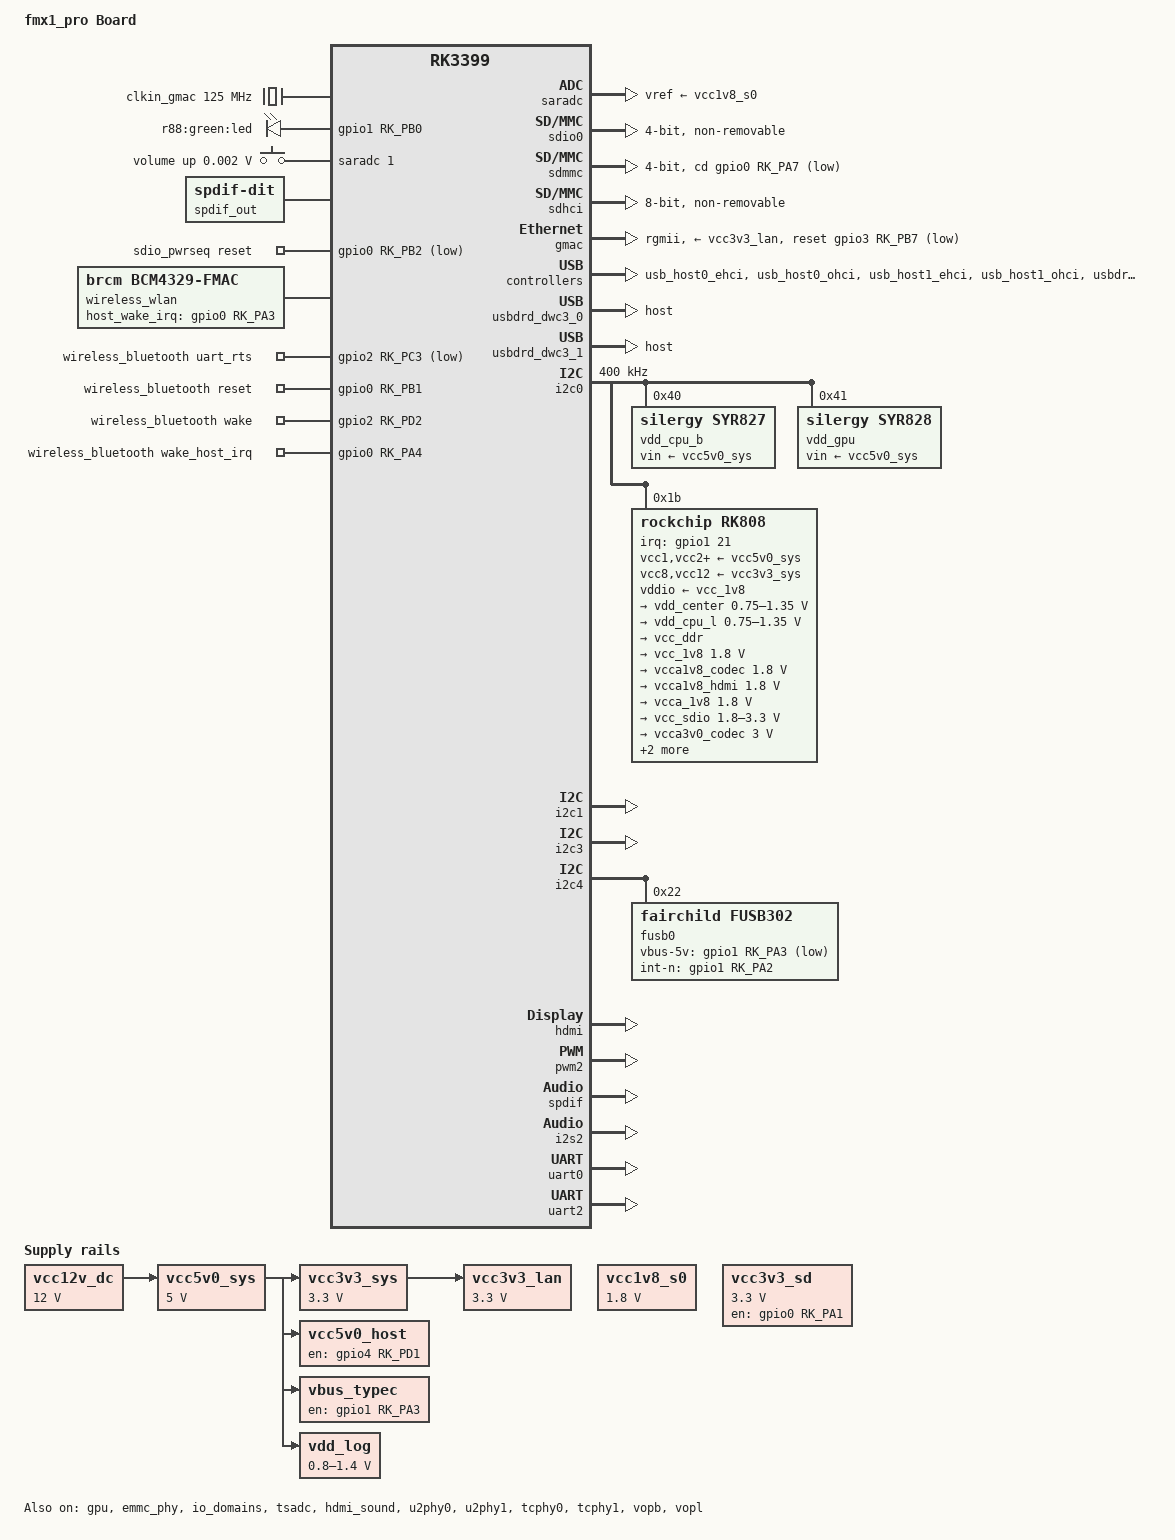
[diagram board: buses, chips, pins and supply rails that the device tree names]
// SPDX-License-Identifier: (GPL-2.0+ OR MIT)
/dts-v1/;

#include <dt-bindings/input/linux-event-codes.h>
#include <dt-bindings/leds/common.h>
#include <dt-bindings/pwm/pwm.h>
#include <dt-bindings/pinctrl/rockchip.h>
#include "rk3399.dtsi"
#include "rk3399-opp.dtsi"

// gpio0:0xac
// gpio1:0x2f
// gpio2:0xb7
// gpio3:0x17
// gpio4:0xba

// 0x01:GPIO_ACTIVE_LOW   0x00:GPIO_ACTIVE_HIGH

// RK_PA0-RK_PA7:0x00-0x07
// RK_PB0-RK_PB7:0x08-0x0f
// RK_PC0-RK_PC7:0x10-0x17
// RK_PD0-RK_PD7:0x18-0x1f

// #define RK_FUNC_GPIO    0
// #define RK_FUNC_1-7    1-7 

// pcfg-pull-none:0xa3
// pcfg-pull-up:0xa1

/ {
	model = "fmx1_pro Board";
	compatible = "rockchip,fmx1_pro", "rockchip,rk3399";

	aliases {
		mmc0 = &sdmmc;
		mmc1 = &sdhci;
		mmc2 = &sdio0;
	};

	chosen: chosen {
		stdout-path = "serial2:1500000n8";
	};

	ramoops: ramoops@110000 {
		compatible = "ramoops";
        reg = <0x00 0x110000 0x00 0xf0000>;
		record-size = <0x20000>;
		console-size = <0x80000>;
		ftrace-size = <0x00>;
		pmsg-size = <0x50000>;
	};

    fiq_debugger: fiq-debugger {
		compatible = "rockchip,fiq-debugger";
		rockchip,serial-id = <2>;
        rockchip,signal-irq = <182>;
		rockchip,wake-irq = <0>;
		rockchip,irq-mode-enable = <1>;
		rockchip,baudrate = <1500000>; 
		pinctrl-names = "default";
		pinctrl-0 = <&uart2c_xfer>;
	};

	reserved_memory: reserved-memory {
		#address-cells = <2>;
		#size-cells = <2>;
		ranges;

		cma: cma {
			compatible = "shared-dma-pool";
			reusable;
			size = <0x00 0x8000000>;
			linux,cma-default;
		};
	};

    clkin_gmac: external-gmac-clock {
		compatible = "fixed-clock";
		clock-frequency = <125000000>;
		clock-output-names = "clkin_gmac";
		#clock-cells = <0>;
	};

	vcc12v_dc: dc-12v {
		compatible = "regulator-fixed";
		regulator-name = "vcc12v_dc";
		regulator-always-on;
		regulator-boot-on;
		regulator-min-microvolt = <12000000>;
		regulator-max-microvolt = <12000000>;
	};

	vcc5v0_sys: vcc-sys {
		compatible = "regulator-fixed";
		regulator-name = "vcc5v0_sys";
		regulator-always-on;
		regulator-boot-on;
		regulator-min-microvolt = <5000000>;
		regulator-max-microvolt = <5000000>;
		vin-supply = <&vcc12v_dc>;
	};

	vcc3v3_sys: vcc3v3-sys {
		compatible = "regulator-fixed";
		regulator-name = "vcc3v3_sys";
		regulator-always-on;
		regulator-boot-on;
		regulator-min-microvolt = <3300000>;
		regulator-max-microvolt = <3300000>;
		vin-supply = <&vcc5v0_sys>;
	};

    vcc1v8_s0: vcc1v8-s0 {
		compatible = "regulator-fixed";
		regulator-name = "vcc1v8_s0";
		regulator-min-microvolt = <1800000>;
		regulator-max-microvolt = <1800000>;
		regulator-always-on;
		regulator-boot-on;
	};

	vcc5v0_host: vcc5v0-host-regulator {
		compatible = "regulator-fixed";
		enable-active-high;
		gpio = <&gpio4 RK_PD1 GPIO_ACTIVE_HIGH>;
		pinctrl-names = "default";
		pinctrl-0 = <&host_vbus_drv>;
		regulator-name = "vcc5v0_host";
		regulator-always-on;
		vin-supply = <&vcc5v0_sys>;
	};

	vbus_typec: vbus-typec-regulator {
		compatible = "regulator-fixed";
		enable-active-high;
		gpio = <&gpio1 RK_PA3 GPIO_ACTIVE_HIGH>;
		pinctrl-names = "default";
		pinctrl-0 = <&vcc5v0_typec_en>;
		regulator-name = "vbus_typec";
		vin-supply = <&vcc5v0_sys>;
	};

	vcc3v3_sd: vcc-sd {
		compatible = "regulator-fixed";
		enable-active-high;
		regulator-always-on;
		regulator-boot-on;
		gpio = <&gpio0 RK_PA1 GPIO_ACTIVE_HIGH>; // sch
		pinctrl-names = "default";
		pinctrl-0 = <&vcc_sd_h>;
		regulator-name = "vcc3v3_sd";
		regulator-min-microvolt = <3300000>;
		regulator-max-microvolt = <3300000>;
	};

	vcc3v3_lan: vcc3v3-lan-regulator {
		compatible = "regulator-fixed";
		regulator-name = "vcc3v3_lan";
		regulator-always-on;
		regulator-boot-on;
		regulator-min-microvolt = <3300000>;
		regulator-max-microvolt = <3300000>;
		vin-supply = <&vcc3v3_sys>;
	};

	vdd_log: vdd-log {
		compatible = "pwm-regulator";
		pwms = <&pwm2 0 25000 1>;
		regulator-name = "vdd_log";
		regulator-always-on;
		regulator-boot-on;
		regulator-min-microvolt = <800000>;
		regulator-max-microvolt = <1400000>;
		pwm-supply = <&vcc5v0_sys>;
	};

    gpio-leds {
		compatible = "gpio-leds";
		autorepeat;
		work {
			gpios = <&gpio1 RK_PB0 GPIO_ACTIVE_HIGH>;
			label = "r88:green:led";
			pinctrl-names = "default";
			pinctrl-0 = <&sys_led_pin>;
		};
	};

	adc-keys {
		compatible = "adc-keys";
		io-channels = <&saradc 1>;
		io-channel-names = "buttons";
		keyup-threshold-microvolt = <1800000>;
		poll-interval = <100>;

		vol-up-key {
			label = "volume up";
			linux,code = <KEY_VOLUMEUP>;
			press-threshold-microvolt = <1750>;
		};
	};

	test-power {
		status = "okay";
	};

    spdif_sound: spdif-sound {
		status = "okay";
		compatible = "simple-audio-card";
		simple-audio-card,name = "ROCKCHIP,SPDIF";

		simple-audio-card,cpu {
			sound-dai = <&spdif>;
		};

		simple-audio-card,codec {
			sound-dai = <&spdif_out>;
		};
	};

	spdif_out: spdif-out {
		status = "okay";
		compatible = "linux,spdif-dit";
		#sound-dai-cells = <0>;
	};

    sdio_pwrseq: sdio-pwrseq {
		compatible = "mmc-pwrseq-simple";
		clocks = <&rk808 1>;
		clock-names = "ext_clock";
		pinctrl-names = "default";
		pinctrl-0 = <&wifi_enable_h>;
		reset-gpios = <&gpio0 RK_PB2 GPIO_ACTIVE_LOW>; // sch
	};

    wireless_wlan: wireless-wlan {
		compatible = "brcm,bcm4329-fmac";
		rockchip,grf = <&grf>;
		wifi_chip_type = "ap6354";
		sdio_vref = <1800>;
		WIFI,host_wake_irq = <&gpio0 RK_PA3 GPIO_ACTIVE_HIGH>;
		status = "okay";
	};

	wireless_bluetooth: wireless-bluetooth {
		compatible = "bluetooth-platdata";
		clocks = <&rk808 1>;
		clock-names = "ext_clock";
		uart_rts_gpios = <&gpio2 RK_PC3 GPIO_ACTIVE_LOW>;
		pinctrl-names = "default","rts_gpio";
		pinctrl-0 = <&uart0_rts>;
		pinctrl-1 = <&uart0_gpios>;
		BT,reset_gpio = <&gpio0 RK_PB1 GPIO_ACTIVE_HIGH>;
		BT,wake_gpio = <&gpio2 RK_PD2 GPIO_ACTIVE_HIGH>;
		BT,wake_host_irq = <&gpio0 RK_PA4 GPIO_ACTIVE_HIGH>;
		status = "okay";
	};
};

&cpu_l0 {
	cpu-supply = <&vdd_cpu_l>;
};

&cpu_l1 {
	cpu-supply = <&vdd_cpu_l>;
};

&cpu_l2 {
	cpu-supply = <&vdd_cpu_l>;
};

&cpu_l3 {
	cpu-supply = <&vdd_cpu_l>;
};

&cpu_b0 {
	cpu-supply = <&vdd_cpu_b>;
};

&cpu_b1 {
	cpu-supply = <&vdd_cpu_b>;
};

&gpu {
	status = "okay";
	mali-supply = <&vdd_gpu>;
};

&saradc {
	vref-supply = <&vcc1v8_s0>;
	status = "okay";
};

&emmc_phy {
	status = "okay";
};

&sdio0 {
	#address-cells = <1>;
	#size-cells = <0>;
	clock-frequency = <100000000>;
	clock-freq-min-max = <200000 100000000>;
	supports-sdio;
	bus-width = <4>;
	disable-wp;
	cap-sd-highspeed;
	cap-sdio-irq;
	keep-power-in-suspend;
	mmc-pwrseq = <&sdio_pwrseq>;
	non-removable;
	num-slots = <1>;
	pinctrl-names = "default";
	pinctrl-0 = <&sdio0_bus4 &sdio0_cmd &sdio0_clk>;
	sd-uhs-sdr104;
	status = "okay";
};

&sdmmc {
	clock-frequency = <100000000>;
	clock-freq-min-max = <100000 100000000>;
	cd-gpios = <&gpio0 RK_PA7 GPIO_ACTIVE_LOW>;
	supports-sd;
	bus-width = <4>;
	cap-mmc-highspeed;
	cap-sd-highspeed;
	disable-wp;
	num-slots = <1>;
	//sd-uhs-sdr104;
	vqmmc-supply = <&vcc_sdio>;
	pinctrl-names = "default";
	pinctrl-0 = <&sdmmc_clk &sdmmc_cmd &sdmmc_cd &sdmmc_bus4>;
	card-detect-delay = <800>;
	status = "okay";
};

&sdhci {
	bus-width = <8>;
	non-removable;
	status = "okay";
};

&gmac {
	phy-supply = <&vcc3v3_lan>;
	phy-mode = "rgmii";
	clock_in_out = "input";
	snps,reset-gpio = <&gpio3 RK_PB7 GPIO_ACTIVE_LOW>;
	snps,reset-active-low;
	snps,reset-delays-us = <0 10000 50000>;
	assigned-clocks = <&cru SCLK_RMII_SRC>;
	assigned-clock-parents = <&clkin_gmac>;
	pinctrl-names = "default", "sleep";
	pinctrl-0 = <&rgmii_pins>;
	pinctrl-1 = <&rgmii_sleep_pins>;
	tx_delay = <0x28>;
	rx_delay = <0x11>;
	status = "okay";
};

&io_domains {
	status = "okay";
	rockchip,grf = <&grf>;
	bt656-supply = <&vcc1v8_s0>;		
	audio-supply = <&vcc1v8_s0>;		
	sdmmc-supply = <&vcc_sdio>;		
	gpio1830-supply = <&vcc_3v0>;		
};

&pmu_io_domains {
	status = "okay";
    rockchip,grf = <&grf>;
	pmu1830-supply = <&vcc_1v8>;
};

&pcie_phy {
	status = "disabled";
};

&pcie0 {
	status = "disabled";
};

&usb_host0_ehci {
	status = "okay";
};

&usb_host0_ohci {
	status = "okay";
};

&usb_host1_ehci {
	status = "okay";
};

&usb_host1_ohci {
	status = "okay";
};

&usbdrd3_0 {
	extcon = <&fusb0>;
	status = "okay";
};

&usbdrd_dwc3_0 {
	dr_mode = "host";
	status = "okay";
};

&usbdrd3_1 {
	status = "okay";
};


&usbdrd_dwc3_1 {
	status = "okay";
	dr_mode = "host";
};

&tsadc {
	/* tshut mode 0:CRU 1:GPIO */
	rockchip,hw-tshut-mode = <1>;
	/* tshut polarity 0:LOW 1:HIGH */
	rockchip,hw-tshut-polarity = <1>;
	rockchip,hw-tshut-temp = <120000>;
	status = "okay";
};

&i2c0 {
	status = "okay";
	clock-frequency = <400000>;
	i2c-scl-rising-time-ns = <168>;
	i2c-scl-falling-time-ns = <4>;

    vdd_cpu_b: syr827@40 {
		compatible = "silergy,syr827";
		reg = <0x40>;
        pinctrl-names = "default";
		pinctrl-0 = <&vsel1_pin>;
		regulator-compatible = "fan53555-reg";
		regulator-name = "vdd_cpu_b";
		regulator-min-microvolt = <712500>;
		regulator-max-microvolt = <1500000>;
		regulator-ramp-delay = <1000>;
		fcs,suspend-voltage-selector = <0>;
		regulator-always-on;
		regulator-boot-on;
		vin-supply = <&vcc5v0_sys>;

		regulator-state-mem {
			regulator-off-in-suspend;
		};
	};

	vdd_gpu: syr828@41 {
		compatible = "silergy,syr828";
		reg = <0x41>;
        pinctrl-names = "default";
		pinctrl-0 = <&vsel2_pin>;
		regulator-compatible = "fan53555-reg";
		regulator-name = "vdd_gpu";
		regulator-min-microvolt = <712500>;
		regulator-max-microvolt = <1500000>;
		regulator-ramp-delay = <1000>;
		fcs,suspend-voltage-selector = <1>;
		regulator-always-on;
		regulator-boot-on;
		vin-supply = <&vcc5v0_sys>;
		regulator-initial-mode = <1>;

		regulator-state-mem {
			regulator-off-in-suspend;
		};
	};

    rk808: pmic@1b { // checked
		compatible = "rockchip,rk808";
		reg = <0x1b>;
		interrupt-parent = <&gpio1>;
		interrupts = <21 IRQ_TYPE_LEVEL_LOW>;
		#clock-cells = <1>;
		clock-output-names = "xin32k", "rk808-clkout2";
		pinctrl-names = "default";
		pinctrl-0 = <&pmic_int_l>;
		rockchip,system-power-controller;
		wakeup-source;

		vcc1-supply = <&vcc5v0_sys>;
		vcc2-supply = <&vcc5v0_sys>;
		vcc3-supply = <&vcc5v0_sys>;
		vcc4-supply = <&vcc5v0_sys>;
		vcc6-supply = <&vcc5v0_sys>;
		vcc7-supply = <&vcc5v0_sys>;
		vcc8-supply = <&vcc3v3_sys>;
		vcc9-supply = <&vcc5v0_sys>;
		vcc10-supply = <&vcc5v0_sys>;
		vcc11-supply = <&vcc5v0_sys>;
		vcc12-supply = <&vcc3v3_sys>;
		vddio-supply = <&vcc_1v8>;

		regulators {
			vdd_center: DCDC_REG1 {
				regulator-name = "vdd_center";
				regulator-always-on;
				regulator-boot-on;
				regulator-min-microvolt = <750000>;
				regulator-max-microvolt = <1350000>;
				regulator-ramp-delay = <6001>;
				regulator-state-mem {
					regulator-off-in-suspend;
				};
			};

			vdd_cpu_l: DCDC_REG2 {
				regulator-name = "vdd_cpu_l";
				regulator-always-on;
				regulator-boot-on;
				regulator-min-microvolt = <750000>;
				regulator-max-microvolt = <1350000>;
				regulator-ramp-delay = <6001>;
				regulator-state-mem {
					regulator-off-in-suspend;
				};
			};

			vcc_ddr: DCDC_REG3 {
				regulator-name = "vcc_ddr";
				regulator-always-on;
				regulator-boot-on;
				regulator-state-mem {
					regulator-on-in-suspend;
				};
			};

			vcc_1v8: DCDC_REG4 {
				regulator-name = "vcc_1v8";
				regulator-always-on;
				regulator-boot-on;
				regulator-min-microvolt = <1800000>;
				regulator-max-microvolt = <1800000>;
				regulator-state-mem {
					regulator-on-in-suspend;
					regulator-suspend-microvolt = <1800000>;
				};
			};

			vcca1v8_codec: LDO_REG1 {
				regulator-name = "vcca1v8_codec";
				regulator-always-on;
				regulator-boot-on;
				regulator-min-microvolt = <1800000>;
				regulator-max-microvolt = <1800000>;
				regulator-state-mem {
					regulator-off-in-suspend;
				};
			};

			vcca1v8_hdmi: LDO_REG2 {
				regulator-name = "vcca1v8_hdmi";
				regulator-always-on;
				regulator-boot-on;
				regulator-min-microvolt = <1800000>;
				regulator-max-microvolt = <1800000>;
				regulator-state-mem {
					regulator-off-in-suspend;
				};
			};

			vcca_1v8: LDO_REG3 {
				regulator-name = "vcca_1v8";
				regulator-always-on;
				regulator-boot-on;
				regulator-min-microvolt = <1800000>;
				regulator-max-microvolt = <1800000>;
				regulator-state-mem {
					regulator-on-in-suspend;
					regulator-suspend-microvolt = <1800000>;
				};
			};

			vcc_sdio: LDO_REG4 {
				regulator-name = "vcc_sdio";
				regulator-always-on;
				regulator-boot-on;
				regulator-min-microvolt = <1800000>;
				regulator-max-microvolt = <3300000>;
				regulator-state-mem {
					regulator-on-in-suspend;
					regulator-suspend-microvolt = <3300000>;
				};
			};

			vcca3v0_codec: LDO_REG5 {
				regulator-name = "vcca3v0_codec";
				regulator-always-on;
				regulator-boot-on;
				regulator-min-microvolt = <3000000>;
				regulator-max-microvolt = <3000000>;
				regulator-state-mem {
					regulator-off-in-suspend;
				};
			};

			vcc_1v5: LDO_REG6 {
				regulator-name = "vcc_1v5";
				regulator-always-on;
				regulator-boot-on;
				regulator-min-microvolt = <1500000>;
				regulator-max-microvolt = <1500000>;
				regulator-state-mem {
					regulator-on-in-suspend;
					regulator-suspend-microvolt = <1500000>;
				};
			};

			vcca0v9_hdmi: LDO_REG7 {
				regulator-name = "vcca0v9_hdmi";
				regulator-always-on;
				regulator-boot-on;
				regulator-min-microvolt = <900000>;
				regulator-max-microvolt = <900000>;
				regulator-state-mem {
					regulator-off-in-suspend;
				};
			};

			vcc_3v0: LDO_REG8 {
				regulator-name = "vcc_3v0";
				regulator-always-on;
				regulator-boot-on;
				regulator-min-microvolt = <3000000>;
				regulator-max-microvolt = <3000000>;
				regulator-state-mem {
					regulator-on-in-suspend;
					regulator-suspend-microvolt = <3000000>;
				};
			};

			vcc_cam: SWITCH_REG1 {
				regulator-name = "vcc_cam";
				regulator-always-on;
				regulator-boot-on;
				regulator-state-mem {
					regulator-off-in-suspend;
				};
			};

			vcc_mipi: SWITCH_REG2 {
				regulator-name = "vcc_mipi";
				regulator-always-on;
				regulator-boot-on;
				regulator-state-mem {
					regulator-off-in-suspend;
				};
			};
		};
	};
};

&i2c1 {
	i2c-scl-rising-time-ns = <300>;
	i2c-scl-falling-time-ns = <15>;
	status = "okay";
};

&i2c3 {
	i2c-scl-rising-time-ns = <450>;
	i2c-scl-falling-time-ns = <15>;
	status = "okay";
};

&i2c4 {
    status = "okay";
    fusb0: fusb30x@22 {
		compatible = "fairchild,fusb302";
		reg = <0x22>;
		pinctrl-names = "default";
		pinctrl-0 = <&fusb0_int>;
		vbus-5v-gpios = <&gpio1 RK_PA3 GPIO_ACTIVE_LOW>;
		int-n-gpios = <&gpio1 RK_PA2 GPIO_ACTIVE_HIGH>;
		status = "okay";
	};
};

// &cdn_dp {
// 	status = "okay";
// 	extcon = <&fusb0>;
// };

// &hdmi_in_vopl {
// 	status = "disabled";
// };

// &dp_in_vopb {
// 	status = "disabled";
// };

// &route_hdmi {
// 	status = "okay";
// };

&hdmi {
	avdd-0v9-supply = <&vcca0v9_hdmi>;
	avdd-1v8-supply = <&vcca1v8_hdmi>;
	ddc-i2c-bus = <&i2c3>;
	pinctrl-names = "default";
	pinctrl-0 = <&hdmi_cec>;
	status = "okay";
};

&hdmi_sound {
	status = "okay";
};

// &hdmi_dp_sound {
// 	status = "okay";
// };

&pwm2 {
	status = "okay";
};

&u2phy0 {
	status = "okay";
	extcon = <&fusb0>;

	u2phy0_host: host-port {
		status = "okay";
		phy-supply = <&vcc5v0_host>;
	};

    u2phy0_otg_port: host-otg {
		status = "okay";
	};
};

&u2phy1 {
	status = "okay";

	u2phy1_host: host-port {
		status = "okay";
		phy-supply = <&vcc5v0_host>;
	};

    u2phy1_otg_port: host-otg {
		status = "okay";
	};
};

&tcphy0 {
	extcon = <&fusb0>;
	status = "okay";
};

&tcphy1 {
	status = "okay";
};

&spdif {
	pinctrl-0 = <&spdif_bus_1>;
	status = "okay";
	#sound-dai-cells = <0>;
};

// &i2s0 {
// 	status = "okay";
// 	rockchip,i2s-broken-burst-len;
// 	rockchip,playback-channels = <8>;
// 	rockchip,capture-channels = <8>;
// 	#sound-dai-cells = <0>;
// };

// &i2s1 {
// 	status = "disabled";
// };

&i2s2 {
	rockchip,playback-channels = <2>;
	rockchip,capture-channels = <2>;
	#sound-dai-cells = <0>;
	status = "okay";
};

&uart0 {
	pinctrl-names = "default";
	pinctrl-0 = <&uart0_xfer &uart0_cts &uart0_rts>;
	status = "okay";
};

&uart2 {
	pinctrl-names = "default";
	pinctrl-0 = <&uart2c_xfer>;
	status = "okay";
};

&pinctrl {

	rockchip-key {
		power_key: power-key {
			rockchip,pins =
				<0 RK_PA5 RK_FUNC_GPIO &pcfg_pull_up>;
		};
	};

	sdio0 {
		sdio0-bus1 {
			rockchip,pins = <2 20 1 &pcfg_pull_up_20ma>;
		};

		sdio0-bus4 {
			rockchip,pins =
				<2 20 1 &pcfg_pull_up_20ma>,
				<2 21 1 &pcfg_pull_up_20ma>,
				<2 22 1 &pcfg_pull_up_20ma>,
				<2 23 1 &pcfg_pull_up_20ma>;
		};

		sdio0-cmd {
			rockchip,pins = <2 24 1 &pcfg_pull_up_20ma>;
		};

		sdio0-clk {
			rockchip,pins = <2 25 1 &pcfg_pull_up_20ma>;
		};
		
	};

	sdmmc {
		sdmmc_bus1: sdmmc-bus1 {
			rockchip,pins =
				<4 8 1 &pcfg_pull_up_8ma>;
		};

		sdmmc_bus4: sdmmc-bus4 {
			rockchip,pins =
				<4 8 1 &pcfg_pull_up_8ma>,
				<4 9 1 &pcfg_pull_up_8ma>,
				<4 10 1 &pcfg_pull_up_8ma>,
				<4 11 1 &pcfg_pull_up_8ma>;
		};

		sdmmc_clk: sdmmc-clk {
			rockchip,pins =
				<4 12 1 &pcfg_pull_none_18ma>;
		};

		sdmmc_cmd: sdmmc-cmd {
			rockchip,pins =
				<4 13 1 &pcfg_pull_up_8ma>;
		};
	};

	leds {
		sys_led_pin: sys-led-pin {
			rockchip,pins = <1 RK_PB0 RK_FUNC_GPIO &pcfg_pull_none>; // sch
		};
	};

    sdio-pwrseq {
		wifi_enable_h: wifi-enable-h {
			rockchip,pins = <0 RK_PB2 RK_FUNC_GPIO &pcfg_pull_none>;
		};
	};

    wireless-bluetooth {
		uart0_gpios: uart0-gpios {
			rockchip,pins = <2 RK_PC3 RK_FUNC_GPIO &pcfg_pull_none>;
		};
	};

    usb2 {
        host_vbus_drv: host-vbus-drv {
			rockchip,pins = <4 RK_PD1 RK_FUNC_GPIO &pcfg_pull_none>;
		};
	};

	usb-typec {
		vcc5v0_typec_en: vcc5v0-typec-en {
			rockchip,pins =
				<1 RK_PA3 RK_FUNC_GPIO &pcfg_pull_up>;
		};
	};

	vcc_sd {
		vcc_sd_h: vcc-sd-h {
			rockchip,pins = <0 RK_PA1 RK_FUNC_GPIO &pcfg_pull_none>; // sch
		};
	};

    pmic {
		pmic_int_l: pmic-int-l {
			rockchip,pins = <1 RK_PC5 RK_FUNC_GPIO &pcfg_pull_up>;
		};

        vsel1_pin: vsel1-pin {
			rockchip,pins = <1 RK_PC1 RK_FUNC_GPIO &pcfg_pull_down>; // sch
		};

		vsel2_pin: vsel2-pin {
			rockchip,pins = <1 RK_PB6 RK_FUNC_GPIO &pcfg_pull_down>; // sch
		};
	};

    fusb30x {
		fusb0_int: fusb0-int {
			rockchip,pins = <1 RK_PA2 RK_FUNC_GPIO &pcfg_pull_up>;
		};
	};

    gmac {
		rgmii_sleep_pins: rgmii-sleep-pins {
			rockchip,pins =<3 RK_PB7 RK_FUNC_GPIO &pcfg_output_low>; // sch
		};
	};
};

&vopb {
	assigned-clocks = <&cru DCLK_VOP0_DIV>;
	assigned-clock-parents = <&cru PLL_VPLL>;
	status = "okay";
};

&vopb_mmu {
	status = "okay";
};

&vopl {
	assigned-clocks = <&cru DCLK_VOP1_DIV>;
	assigned-clock-parents = <&cru PLL_CPLL>;
	status = "okay";
};

&vopl_mmu {
	status = "okay";
};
